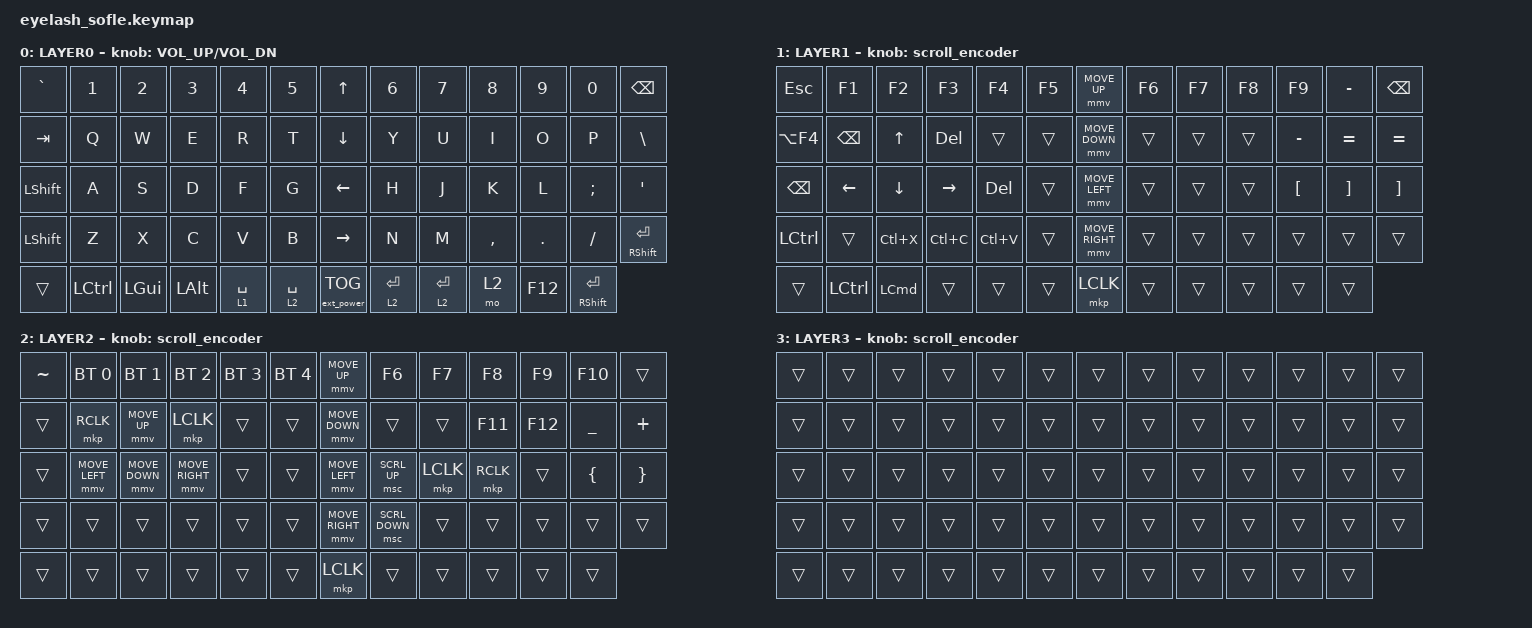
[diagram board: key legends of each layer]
#define ZMK_POINTING_DEFAULT_MOVE_VAL 1200  // 600
#define ZMK_POINTING_DEFAULT_SCRL_VAL 25   // 10

#include <input/processors.dtsi>
#include <zephyr/dt-bindings/input/input-event-codes.h>
#include <behaviors.dtsi>
#include <dt-bindings/zmk/bt.h>
#include <dt-bindings/zmk/ext_power.h>
#include <dt-bindings/zmk/keys.h>
#include <dt-bindings/zmk/pointing.h>
#include <dt-bindings/zmk/rgb.h>
#include <dt-bindings/zmk/outputs.h>

&mmv_input_listener { input-processors = <&zip_xy_scaler 2 1>; };

&msc_input_listener { input-processors = <&zip_scroll_scaler 2 1>; };

&msc {
    acceleration-exponent = <1>;      // 0
    time-to-max-speed-ms = <100>;       // 300
    delay-ms = <0>;                   // 0
};

&mmv {
    time-to-max-speed-ms = <500>;
    acceleration-exponent = <1>;
    trigger-period-ms = <16>;
};


/ {
    scroll_encoder: scroll_encoder {
        compatible = "zmk,behavior-sensor-rotate";
        #sensor-binding-cells = <0>;
        bindings = <&msc SCRL_DOWN>, <&msc SCRL_UP>;

        tap-ms = <100>;
    };

    behaviors {
    };

    keymap {
        compatible = "zmk,keymap";

        layer0 {
            bindings = <
&kp GRAVE       &kp N1     &kp N2        &kp N3        &kp N4       &kp N5         &kp UP_ARROW       &kp N6       &kp N7       &kp N8     &kp N9   &kp N0                 &kp BACKSPACE
&kp TAB         &kp Q      &kp W         &kp E         &kp R        &kp T          &kp DOWN_ARROW     &kp Y        &kp U        &kp I      &kp O    &kp P                  &kp BSLH
&kp LEFT_SHIFT  &kp A      &kp S         &kp D         &kp F        &kp G          &kp LEFT_ARROW     &kp H        &kp J        &kp K      &kp L    &kp SEMI               &kp APOS
&kp LSHFT       &kp Z      &kp X         &kp C         &kp V        &kp B          &kp RIGHT_ARROW    &kp N        &kp M        &kp COMMA  &kp DOT  &kp FSLH               &mt RIGHT_SHIFT ENTER
&trans          &kp LCTRL  &kp LEFT_GUI  &kp LEFT_ALT  &lt 1 SPACE  &lt 2 SPACE    &ext_power EP_TOG  &lt 2 ENTER  &lt 2 ENTER  &mo 2      &kp F12  &mt RIGHT_SHIFT ENTER
            >;

            sensor-bindings = <&inc_dec_kp C_VOLUME_UP C_VOL_DN>;
            display-name = "LAYER0";
        };

        layer_1 {
            bindings = <
&kp ESCAPE        &kp F1            &kp F2            &kp F3           &kp F4      &kp F5    &mmv MOVE_UP     &kp F6  &kp F7  &kp F8  &kp F9            &kp MINUS          &kp BACKSPACE
&kp LA(F4)        &kp BACKSPACE     &kp UP_ARROW      &kp DELETE       &trans      &trans    &mmv MOVE_DOWN   &trans  &trans  &trans  &kp MINUS         &kp EQUAL          &kp EQUAL
&kp BACKSPACE     &kp LEFT_ARROW    &kp DOWN_ARROW    &kp RIGHT_ARROW  &kp DELETE  &trans    &mmv MOVE_LEFT   &trans  &trans  &trans  &kp LEFT_BRACKET  &kp RIGHT_BRACKET  &kp RIGHT_BRACKET
&kp LEFT_CONTROL  &trans            &kp LC(X)         &kp LC(C)        &kp LC(V)   &trans    &mmv MOVE_RIGHT  &trans  &trans  &trans  &trans            &trans             &trans
&trans            &kp LEFT_CONTROL  &kp LEFT_COMMAND  &trans           &trans      &trans    &mkp LCLK        &trans  &trans  &trans  &trans            &trans
            >;

            display-name = "LAYER1";
            sensor-bindings = <&scroll_encoder>;
        };

        layer_2 {
            bindings = <
&kp TILDE  &bt BT_SEL 0    &bt BT_SEL 1    &bt BT_SEL 2     &bt BT_SEL 3  &bt BT_SEL 4    &mmv MOVE_UP     &kp F6          &kp F7     &kp F8     &kp F9   &kp F10    &trans
&trans     &mkp RCLK       &mmv MOVE_UP    &mkp LCLK        &trans        &trans          &mmv MOVE_DOWN   &trans          &trans     &kp F11    &kp F12  &kp UNDER  &kp PLUS
&trans     &mmv MOVE_LEFT  &mmv MOVE_DOWN  &mmv MOVE_RIGHT  &trans        &trans          &mmv MOVE_LEFT   &msc SCRL_UP    &mkp LCLK  &mkp RCLK  &trans   &kp LBRC   &kp RBRC
&trans     &trans          &trans          &trans           &trans        &trans          &mmv MOVE_RIGHT  &msc SCRL_DOWN  &trans     &trans     &trans   &trans     &trans
&trans     &trans          &trans          &trans           &trans        &trans          &mkp LCLK        &trans          &trans     &trans     &trans   &trans
            >;
            display-name = "LAYER2";
            sensor-bindings = <&scroll_encoder>;
        };

        layer_3 {
            bindings = <
&trans  &trans  &trans  &trans  &trans  &trans    &trans  &trans  &trans  &trans  &trans  &trans  &trans
&trans  &trans  &trans  &trans  &trans  &trans    &trans  &trans  &trans  &trans  &trans  &trans  &trans
&trans  &trans  &trans  &trans  &trans  &trans    &trans  &trans  &trans  &trans  &trans  &trans  &trans
&trans  &trans  &trans  &trans  &trans  &trans    &trans  &trans  &trans  &trans  &trans  &trans  &trans
&trans  &trans  &trans  &trans  &trans  &trans    &trans  &trans  &trans  &trans  &trans  &trans
            >;
            display-name = "LAYER3";
            sensor-bindings = <&scroll_encoder>;
        };
    };
};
